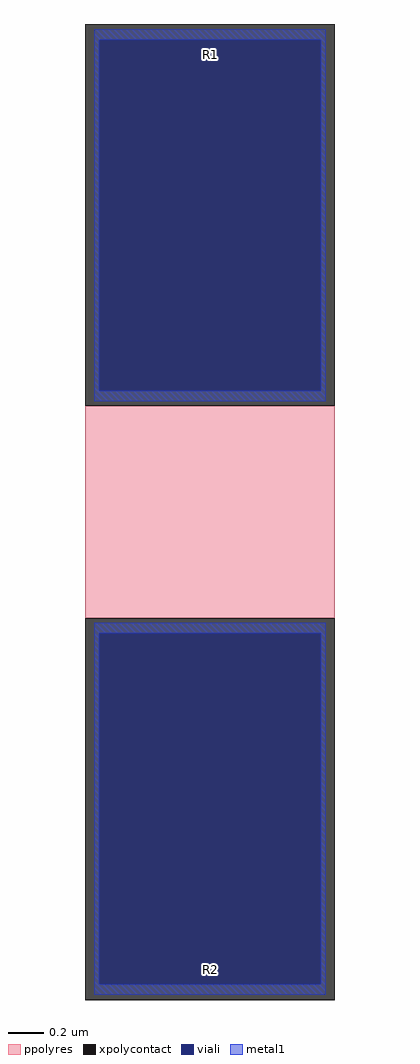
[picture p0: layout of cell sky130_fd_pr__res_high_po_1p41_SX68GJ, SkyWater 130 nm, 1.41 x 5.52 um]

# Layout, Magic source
magic
tech sky130A
magscale 1 2
<< xpolycontact >>
rect -141 120 141 552
rect -141 -552 141 -120
<< ppolyres >>
rect -141 -120 141 120
<< viali >>
rect -125 137 125 534
rect -125 -534 125 -137
<< metal1 >>
rect -131 534 131 546
rect -131 137 -125 534
rect 125 137 131 534
rect -131 125 131 137
rect -131 -137 131 -125
rect -131 -534 -125 -137
rect 125 -534 131 -137
rect -131 -546 131 -534
<< labels >>
rlabel xpolycontact 0 517 0 517 0 R1
port 1 nsew
rlabel xpolycontact 0 -517 0 -517 0 R2
port 2 nsew
<< properties >>
string gencell sky130_fd_pr__res_high_po_1p41
string library sky130
string parameters w 1.41 l 1.36 m 1 nx 1 wmin 1.410 lmin 0.50 class resistor rho 319.8 val 584.8 dummy 0 dw 0.0 term 194.82 sterm 0.0 caplen 0 guard 0 glc 1 grc 1 gtc 1 gbc 1 compatible {sky130_fd_pr__res_high_po_0p35  sky130_fd_pr__res_high_po_0p69 sky130_fd_pr__res_high_po_1p41  sky130_fd_pr__res_high_po_2p85 sky130_fd_pr__res_high_po_5p73} snake 0 full_metal 1 wmax 1.410 n_guard 0 hv_guard 0 vias 1 viagb 0 viagt 0 viagl 0 viagr 0 doports 1
<< end >>
